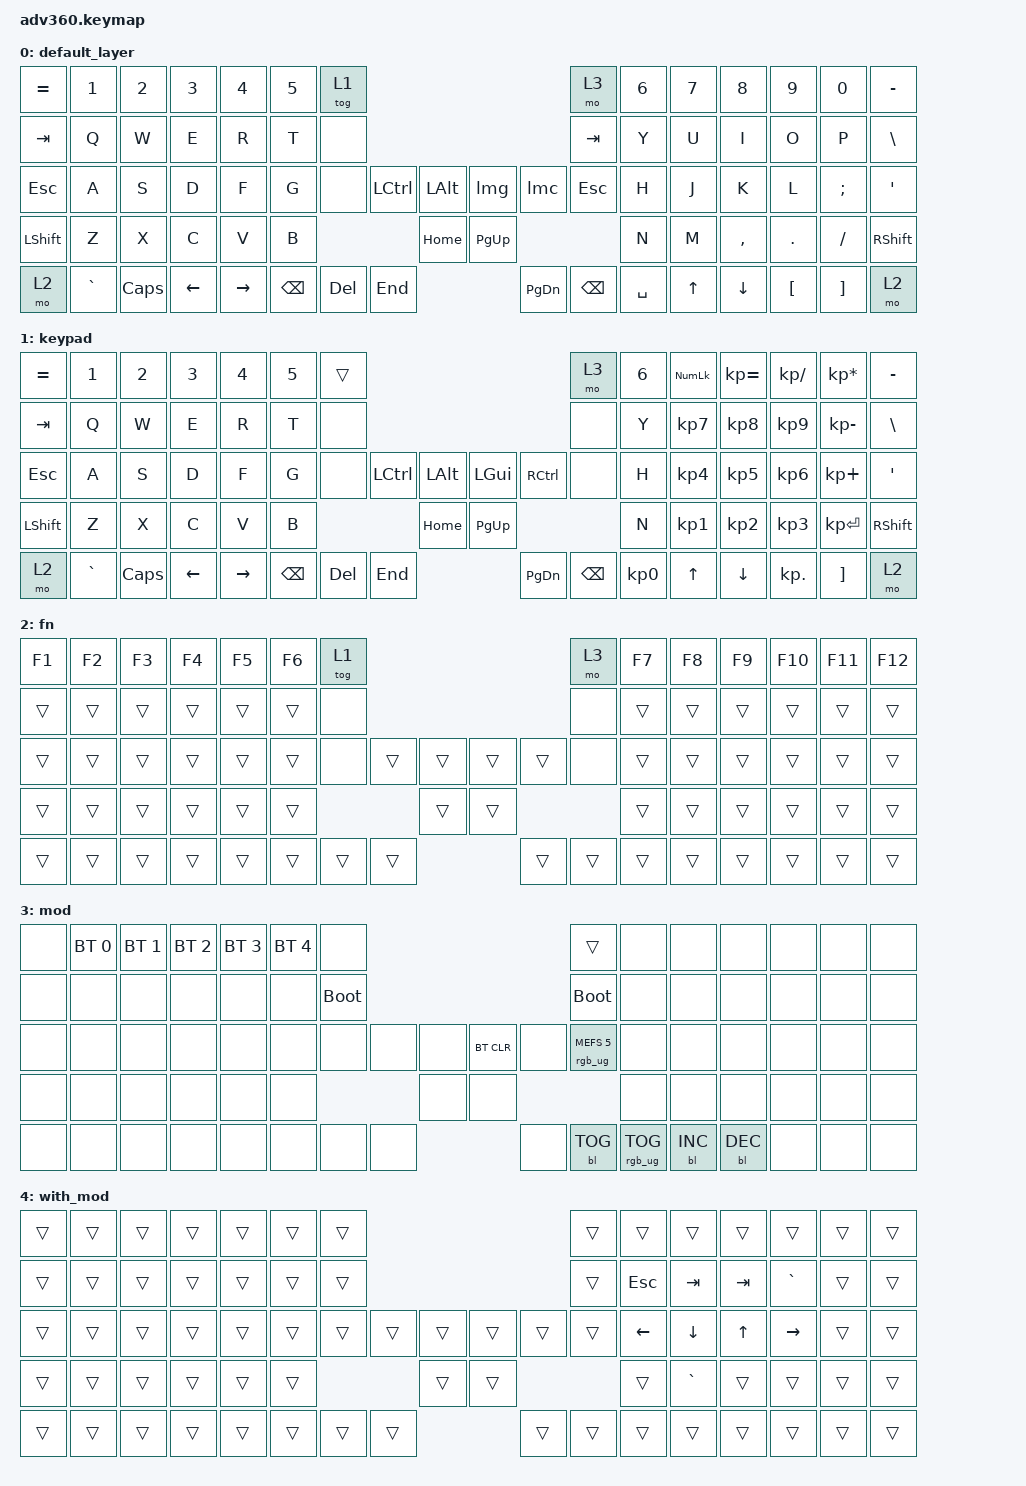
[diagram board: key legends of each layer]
#include <behaviors.dtsi>
#include <dt-bindings/zmk/backlight.h>
#include <dt-bindings/zmk/bt.h>
#include <dt-bindings/zmk/keys.h>
#include <dt-bindings/zmk/rgb.h>

/ {
    behaviors {
        #include "macros.dtsi"
      #include "version.dtsi"
      #ifndef VERSION_MACRO
      macro_ver: macro_ver {
        compatible = "zmk,behavior-macro";
        label = "macro_version";
        #binding-cells = <0>;
        bindings = <&kp RET>;
      };
      #endif

        hm: homerow_mods {
            compatible = "zmk,behavior-hold-tap";
            label = "HOMEROW_MODS";
            #binding-cells = <2>;
            tapping-term-ms = <200>;
            quick_tap_ms = <175>;
            flavor = "tap-preferred";
            bindings =
                <&kp>,
                <&kp>;
        };
        lmc: layer_mod_ctrl {
            label = "LAYER_MOD_CTRL";
            compatible = "zmk,behavior-macro";
            wait-ms = <0>;
            tap-ms = <0>;
            #binding-cells = <0>;
            bindings =
                <&macro_press>,
                <&mo 4>,
                <&macro_press>,
                <&kp LCTRL>,
                <&macro_pause_for_release>,
                <&macro_release>,
                <&kp LCTRL>,
                <&macro_release>,
                <&mo 4>;
        };
        lmg: layer_mod_gui {
            label = "LAYER_MOD_GUI";
            compatible = "zmk,behavior-macro";
            wait-ms = <0>;
            tap-ms = <0>;
            #binding-cells = <0>;
            bindings =
                <&macro_press>,
                <&mo 4>,
                <&macro_press>,
                <&kp LGUI>,
                <&macro_pause_for_release>,
                <&macro_release>,
                <&kp LGUI>,
                <&macro_release>,
                <&mo 4>;
        };
        lma: layer_mod_alt {
            label = "LAYER_MOD_ALT";
            compatible = "zmk,behavior-macro";
            wait-ms = <0>;
            tap-ms = <0>;
            #binding-cells = <0>;
            bindings =
                <&macro_press>,
                <&mo 4>,
                <&macro_press>,
                <&kp LALT>,
                <&macro_pause_for_release>,
                <&macro_release>,
                <&kp LALT>,
                <&macro_release>,
                <&mo 4>;
        };
        lmga: layer_mod_gui_alt {
            label = "LAYER_MOD_GUI_ALT";
            compatible = "zmk,behavior-macro";
            wait-ms = <0>;
            tap-ms = <0>;
            #binding-cells = <0>;
            bindings =
                <&macro_press>,
                <&mo 4>,
                <&macro_press>,
                <&kp LGUI>,
                <&macro_press>,
                <&kp LALT>,
                <&macro_pause_for_release>,
                <&macro_release>,
                <&kp LALT>,
                <&macro_release>,
                <&kp LGUI>,
                <&macro_release>,
                <&mo 4>;
        };
        lmgc: layer_mod_gui_ctrl {
            label = "LAYER_MOD_GUI_CTRL";
            compatible = "zmk,behavior-macro";
            wait-ms = <0>;
            tap-ms = <0>;
            #binding-cells = <0>;
            bindings =
                <&macro_press>,
                <&mo 4>,
                <&macro_press>,
                <&kp LGUI>,
                <&macro_press>,
                <&kp LCTRL>,
                <&macro_pause_for_release>,
                <&macro_release>,
                <&kp LCTRL>,
                <&macro_release>,
                <&kp LGUI>,
                <&macro_release>,
                <&mo 4>;
        };
        lmac: layer_mod_alt_ctrl {
            label = "LAYER_MOD_ALT_CTRL";
            compatible = "zmk,behavior-macro";
            wait-ms = <0>;
            tap-ms = <0>;
            #binding-cells = <0>;
            bindings =
                <&macro_press>,
                <&mo 4>,
                <&macro_press>,
                <&kp LALT>,
                <&macro_press>,
                <&kp LCTRL>,
                <&macro_pause_for_release>,
                <&macro_release>,
                <&kp LCTRL>,
                <&macro_release>,
                <&kp LALT>,
                <&macro_release>,
                <&mo 4>;
        };
        lmgac: layer_mod_gui_alt_ctrl {
            label = "LAYER_MOD_GUI_ALT_CTRL";
            compatible = "zmk,behavior-macro";
            wait-ms = <0>;
            tap-ms = <0>;
            #binding-cells = <0>;
            bindings =
                <&macro_press>,
                <&mo 4>,
                <&macro_press>,
                <&kp LGUI>,
                <&macro_press>,
                <&kp LALT>,
                <&macro_press>,
                <&kp LCTRL>,
                <&macro_pause_for_release>,
                <&macro_release>,
                <&kp LCTRL>,
                <&macro_release>,
                <&kp LALT>,
                <&macro_release>,
                <&kp LGUI>,
                <&macro_release>,
                <&mo 4>;
        };
    };

    combos {
        compatible = "zmk,combos";

        t {
            bindings = <&kp T>;
            key-positions = <70 22>;
            layers = <0>;
        };

        r {
            bindings = <&kp R>;
            key-positions = <70 23>;
            layers = <0>;
        };

        e {
            bindings = <&kp E>;
            key-positions = <70 24>;
            layers = <0>;
        };

        w {
            bindings = <&kp W>;
            key-positions = <70 25>;
            layers = <0>;
        };

        q {
            bindings = <&kp Q>;
            key-positions = <70 26>;
            layers = <0>;
        };

        g {
            bindings = <&kp G>;
            key-positions = <70 40>;
            layers = <0>;
        };

        f {
            bindings = <&kp F>;
            key-positions = <70 41>;
            layers = <0>;
        };

        d {
            bindings = <&kp D>;
            key-positions = <70 42>;
            layers = <0>;
        };

        s {
            bindings = <&kp S>;
            key-positions = <70 43>;
            layers = <0>;
        };

        a {
            bindings = <&kp A>;
            key-positions = <70 44>;
            layers = <0>;
        };

        space__ret {
            bindings = <&kp RET>;
            key-positions = <70 45>;
            layers = <0>;
        };

        b {
            bindings = <&kp B>;
            key-positions = <70 54>;
            layers = <0>;
        };

        v {
            bindings = <&kp V>;
            key-positions = <70 55>;
            layers = <0>;
        };

        c {
            bindings = <&kp C>;
            key-positions = <70 56>;
            layers = <0>;
        };

        x {
            bindings = <&kp X>;
            key-positions = <70 57>;
            layers = <0>;
        };

        z {
            bindings = <&kp Z>;
            key-positions = <70 58>;
            layers = <0>;
        };

        seven {
            bindings = <&kp N7>;
            key-positions = <44 23>;
            layers = <0>;
        };

        eight {
            bindings = <&kp N8>;
            key-positions = <44 24>;
            layers = <0>;
        };

        nine {
            bindings = <&kp N9>;
            key-positions = <44 25>;
            layers = <0>;
        };

        four {
            bindings = <&kp N4>;
            key-positions = <44 41>;
            layers = <0>;
        };

        five {
            bindings = <&kp N5>;
            key-positions = <44 42>;
            layers = <0>;
        };

        six {
            bindings = <&kp N6>;
            key-positions = <44 43>;
            layers = <0>;
        };

        zero {
            bindings = <&kp N0>;
            key-positions = <44 54>;
            layers = <0>;
        };

        one {
            bindings = <&kp N1>;
            key-positions = <44 55>;
            layers = <0>;
        };

        two {
            bindings = <&kp N2>;
            key-positions = <44 56>;
            layers = <0>;
        };

        three {
            bindings = <&kp N3>;
            key-positions = <44 57>;
            layers = <0>;
        };

        ampersand {
            bindings = <&kp LS(N7)>;
            key-positions = <70 44 23>;
            layers = <0>;
        };

        star {
            bindings = <&kp LS(N8)>;
            key-positions = <70 44 24>;
            layers = <0>;
        };

        l_paren {
            bindings = <&kp LS(N9)>;
            key-positions = <70 44 25>;
            layers = <0>;
        };

        dollar {
            bindings = <&kp LS(N4)>;
            key-positions = <70 44 41>;
            layers = <0>;
        };

        percent {
            bindings = <&kp LS(N5)>;
            key-positions = <70 44 42>;
            layers = <0>;
        };

        caret {
            bindings = <&kp LS(N6)>;
            key-positions = <70 44 43>;
            layers = <0>;
        };

        r_paren {
            bindings = <&kp LS(N0)>;
            key-positions = <70 44 54>;
            layers = <0>;
        };

        bang {
            bindings = <&kp LS(N1)>;
            key-positions = <70 44 55>;
            layers = <0>;
        };

        at {
            bindings = <&kp LS(N2)>;
            key-positions = <70 44 56>;
            layers = <0>;
        };

        hash {
            bindings = <&kp LS(N3)>;
            key-positions = <70 44 57>;
            layers = <0>;
        };

        l_arrow {
            bindings = <&kp LEFT>;
            key-positions = <69 40>;
            layers = <0>;
        };

        d_arrow {
            bindings = <&kp DOWN>;
            key-positions = <69 41>;
            layers = <0>;
        };

        u_arrow {
            bindings = <&kp UP>;
            key-positions = <69 42>;
            layers = <0>;
        };

        r_arrow {
            bindings = <&kp RIGHT>;
            key-positions = <69 43>;
            layers = <0>;
        };

        home {
            bindings = <&kp HOME>;
            key-positions = <69 40 44>;
            layers = <0>;
        };

        pgdn {
            bindings = <&kp PG_DN>;
            key-positions = <69 41 44>;
            layers = <0>;
        };

        pgup {
            bindings = <&kp PG_UP>;
            key-positions = <69 42 44>;
            layers = <0>;
        };

        end {
            bindings = <&kp END>;
            key-positions = <69 43 44>;
            layers = <0>;
        };

        shift {
            bindings = <&kp LSHFT>;
            key-positions = <41 42>;
        };

        super {
            bindings = <&kp LGUI>;
            key-positions = <41 42 70>;
        };

        ctrl {
            bindings = <&kp LCTRL>;
            key-positions = <41 43>;
        };

        opt {
            bindings = <&kp LALT>;
            key-positions = <41 43 70>;
        };

        bksp {
            bindings = <&kp BACKSPACE>;
            key-positions = <41 42 43>;
        };

        delete {
            bindings = <&kp DEL>;
            key-positions = <41 42 43 70>;
        };

        enter {
            bindings = <&kp ENTER>;
            key-positions = <41 42 43 44>;
        };

        k__esc {
            bindings = <&kp ESC>;
            key-positions = <42 22>;
        };

        k__tab {
            bindings = <&kp TAB>;
            key-positions = <42 23>;
        };

        k__s_tab {
            bindings = <&kp LS(TAB)>;
            key-positions = <42 23 44>;
        };

        j__minus {
            bindings = <&kp MINUS>;
            key-positions = <41 24>;
        };

        j__equals {
            bindings = <&kp EQUAL>;
            key-positions = <41 25>;
        };

        k__l_paren {
            bindings = <&kp LS(N9)>;
            key-positions = <42 43>;
        };

        k__grave {
            bindings = <&kp GRAVE>;
            key-positions = <42 55>;
        };

        k__tilde {
            bindings = <&kp LS(GRAVE)>;
            key-positions = <42 55 70>;
        };

        k__l_sq_br {
            bindings = <&kp LBKT>;
            key-positions = <42 57>;
        };

        k__r_sq_br {
            bindings = <&kp RBKT>;
            key-positions = <42 57 70>;
        };

        j__bslash {
            bindings = <&kp BSLH>;
            key-positions = <41 56>;
        };

        j__uscore {
            bindings = <&kp LS(MINUS)>;
            key-positions = <70 41 24>;
        };

        j__plus {
            bindings = <&kp LS(EQUAL)>;
            key-positions = <70 41 25>;
        };

        k__r_paren {
            bindings = <&kp LS(N0)>;
            key-positions = <42 43 70>;
        };

        k__lbrace {
            bindings = <&kp LS(LBKT)>;
            key-positions = <42 25>;
        };

        k__rbrace {
            bindings = <&kp LS(RBKT)>;
            key-positions = <42 25 70>;
        };

        j__pipe {
            bindings = <&kp LS(BSLH)>;
            key-positions = <41 56 70>;
        };

        lm_g {
            bindings = <&lmg>;
            key-positions = <38 41>;
            slow-release;
        };

        lm_a {
            bindings = <&lma>;
            key-positions = <38 42>;
            slow-release;
        };

        lm_c {
            bindings = <&lmc>;
            key-positions = <38 43>;
            slow-release;
        };

        lm_ga {
            bindings = <&lmga>;
            key-positions = <38 41 42>;
            slow-release;
        };

        lm_gc {
            bindings = <&lmgc>;
            key-positions = <38 41 43>;
            slow-release;
        };

        lm_ac {
            bindings = <&lmga>;
            key-positions = <38 42 43>;
            slow-release;
        };

        lm_gac {
            bindings = <&lmgac>;
            key-positions = <38 41 42 43>;
            slow-release;
        };
    };

    macros {
    };

    keymap {
        compatible = "zmk,keymap";

        default_layer {
            bindings = <
&kp EQUAL     &kp N1    &kp N2    &kp N3     &kp N4  &kp N5    &tog 1                                                    &mo 3  &kp N6  &kp N7     &kp N8    &kp N9    &kp N0  &kp MINUS
  &kp TAB      &kp Q     &kp W     &kp E      &kp R   &kp T     &none                                                  &kp TAB   &kp Y   &kp U      &kp I     &kp O     &kp P   &kp BSLH
  &kp ESC      &kp A     &kp S     &kp D      &kp F   &kp G     &none  &kp LCTRL  &kp LALT           &lmg      &lmc    &kp ESC   &kp H   &kp J      &kp K     &kp L  &kp SEMI    &kp SQT
&kp LSHFT      &kp Z     &kp X     &kp C      &kp V   &kp B                       &kp HOME      &kp PG_UP                        &kp N   &kp M  &kp COMMA   &kp DOT  &kp FSLH  &kp RSHFT
    &mo 2  &kp GRAVE  &kp CAPS  &kp LEFT  &kp RIGHT          &kp BSPC    &kp DEL   &kp END      &kp PG_DN  &kp BSPC  &kp SPACE          &kp UP   &kp DOWN  &kp LBKT  &kp RBKT      &mo 2
            >;
        };

        keypad {
            bindings = <
&kp EQUAL     &kp N1    &kp N2    &kp N3     &kp N4  &kp N5    &trans                                                     &mo 3  &kp N6  &kp KP_NUM  &kp KP_EQUAL  &kp KP_DIVIDE  &kp KP_MULTIPLY  &kp MINUS
  &kp TAB      &kp Q     &kp W     &kp E      &kp R   &kp T     &none                                                     &none   &kp Y   &kp KP_N7     &kp KP_N8      &kp KP_N9     &kp KP_MINUS   &kp BSLH
  &kp ESC      &kp A     &kp S     &kp D      &kp F   &kp G     &none  &kp LCTRL  &kp LALT       &kp LGUI  &kp RCTRL      &none   &kp H   &kp KP_N4     &kp KP_N5      &kp KP_N6      &kp KP_PLUS    &kp SQT
&kp LSHFT      &kp Z     &kp X     &kp C      &kp V   &kp B                       &kp HOME      &kp PG_UP                         &kp N   &kp KP_N1     &kp KP_N2      &kp KP_N3     &kp KP_ENTER  &kp RSHFT
    &mo 2  &kp GRAVE  &kp CAPS  &kp LEFT  &kp RIGHT          &kp BSPC    &kp DEL   &kp END      &kp PG_DN   &kp BSPC  &kp KP_N0              &kp UP      &kp DOWN     &kp KP_DOT         &kp RBKT      &mo 2
            >;
        };

        fn {
            bindings = <
&kp F1  &kp F2  &kp F3  &kp F4  &kp F5  &kp F6  &tog 1                                       &mo 3  &kp F7  &kp F8  &kp F9  &kp F10  &kp F11  &kp F12
&trans  &trans  &trans  &trans  &trans  &trans   &none                                       &none  &trans  &trans  &trans   &trans   &trans   &trans
&trans  &trans  &trans  &trans  &trans  &trans   &none  &trans  &trans      &trans  &trans   &none  &trans  &trans  &trans   &trans   &trans   &trans
&trans  &trans  &trans  &trans  &trans  &trans                  &trans      &trans                  &trans  &trans  &trans   &trans   &trans   &trans
&trans  &trans  &trans  &trans  &trans          &trans  &trans  &trans      &trans  &trans  &trans          &trans  &trans   &trans   &trans   &trans
            >;
        };

        mod {
            bindings = <
&none  &bt BT_SEL 0  &bt BT_SEL 1  &bt BT_SEL 2  &bt BT_SEL 3  &bt BT_SEL 4        &none                                                            &trans  &none       &none       &none  &none  &none  &none
&none         &none         &none         &none         &none         &none  &bootloader                                                       &bootloader  &none       &none       &none  &none  &none  &none
&none         &none         &none         &none         &none         &none        &none  &none  &none      &bt BT_CLR       &none  &rgb_ug RGB_MEFS_CMD 5  &none       &none       &none  &none  &none  &none
&none         &none         &none         &none         &none         &none                      &none           &none                                      &none       &none       &none  &none  &none  &none
&none         &none         &none         &none         &none                      &none  &none  &none           &none  &bl BL_TOG         &rgb_ug RGB_TOG         &bl BL_INC  &bl BL_DEC  &none  &none  &none
            >;
        };

        with_mod {
            bindings = <
&trans  &trans  &trans  &trans  &trans  &trans  &trans                                      &trans         &trans       &trans   &trans     &trans  &trans  &trans
&trans  &trans  &trans  &trans  &trans  &trans  &trans                                      &trans        &kp ESC      &kp TAB  &kp TAB  &kp GRAVE  &trans  &trans
&trans  &trans  &trans  &trans  &trans  &trans  &trans  &trans  &trans      &trans  &trans  &trans       &kp LEFT     &kp DOWN   &kp UP  &kp RIGHT  &trans  &trans
&trans  &trans  &trans  &trans  &trans  &trans                  &trans      &trans                         &trans    &kp GRAVE   &trans     &trans  &trans  &trans
&trans  &trans  &trans  &trans  &trans          &trans  &trans  &trans      &trans  &trans  &trans                      &trans   &trans     &trans  &trans  &trans
            >;
        };
    };
};
